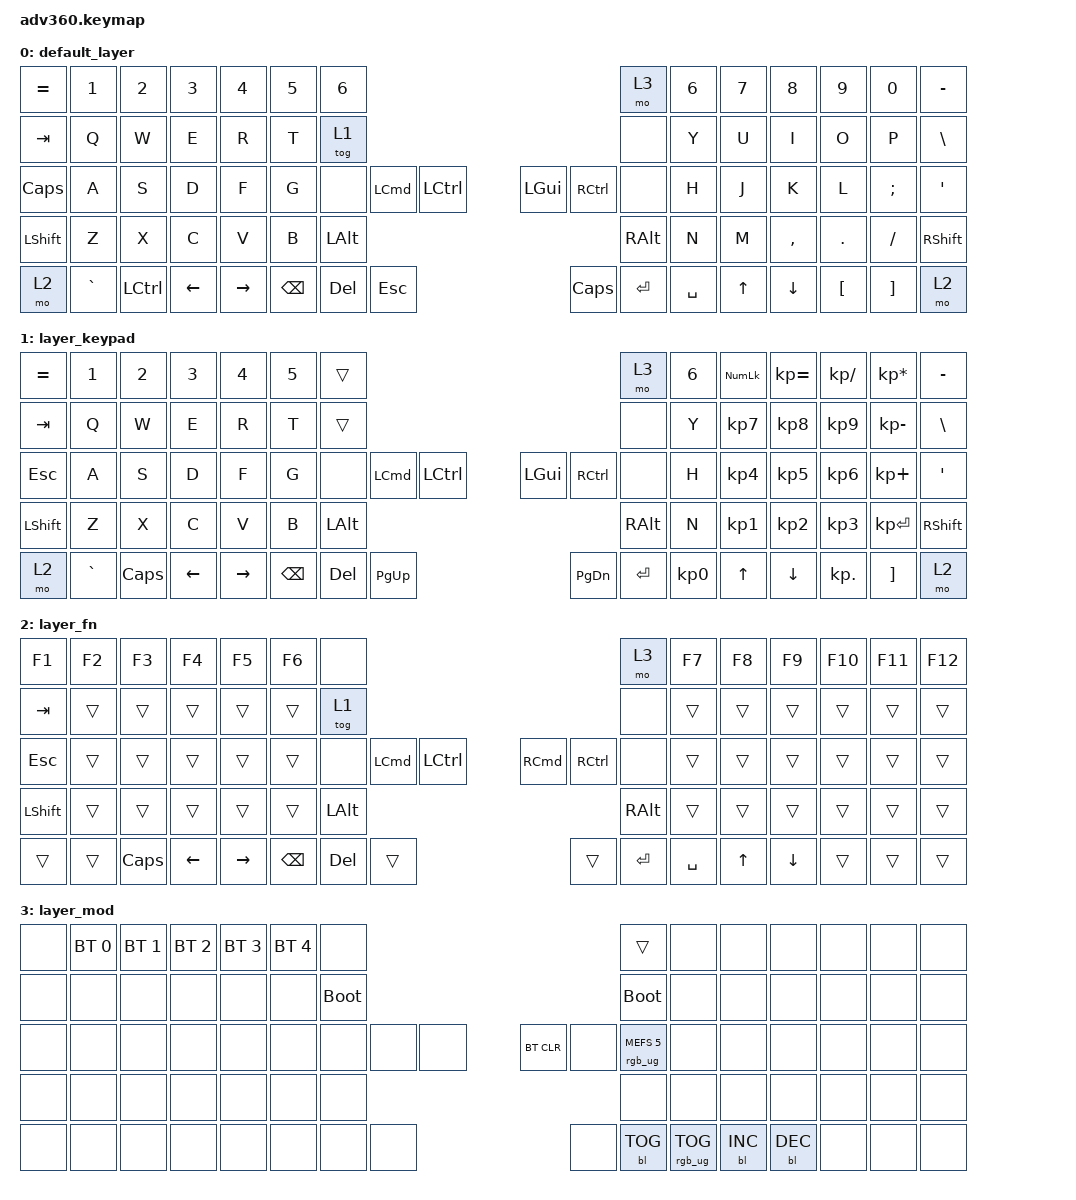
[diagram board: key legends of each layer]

/*
 * Copyright (c) 2020 The ZMK Contributors
 *
 * SPDX-License-Identifier: MIT
 */


/* THIS FILE WAS GENERATED!
 *
 * This file was generated automatically. You may or may not want to
 * edit it directly.
 */

#include <behaviors.dtsi>
#include <dt-bindings/zmk/keys.h>
#include <dt-bindings/zmk/bt.h>
#include <dt-bindings/zmk/rgb.h>
#include <dt-bindings/zmk/backlight.h>

/ {
  behaviors {
    #include "macros.dtsi"
    #include "version.dtsi"

    hm: homerow_mods {
        compatible = "zmk,behavior-hold-tap";
        label = "HOMEROW_MODS";
        #binding-cells = <2>;
        tapping-term-ms = <200>;
        quick_tap_ms = <175>;
        flavor = "tap-preferred";
        bindings = <&kp>, <&kp>;
    };
  };

    keymap {
        compatible = "zmk,keymap";


        default_layer {
            bindings = <
    &kp EQUAL     &kp N1            &kp N2    &kp N3     &kp N4  &kp N5            &kp NUMBER_6                                                                                    &mo 3  &kp N6  &kp N7     &kp N8    &kp N9    &kp N0  &kp MINUS
      &kp TAB      &kp Q             &kp W     &kp E      &kp R   &kp T                  &tog 1                                                                                    &none   &kp Y   &kp U      &kp I     &kp O     &kp P   &kp BSLH
 &kp CAPSLOCK      &kp A             &kp S     &kp D      &kp F   &kp G                   &none  &kp LEFT_COMMAND  &kp LEFT_CONTROL                       &kp LGUI  &kp RCTRL      &none   &kp H   &kp J      &kp K     &kp L  &kp SEMI    &kp SQT
    &kp LSHFT      &kp Z             &kp X     &kp C      &kp V   &kp B                                                &kp LEFT_ALT                  &kp RIGHT_ALT                         &kp N   &kp M  &kp COMMA   &kp DOT  &kp FSLH  &kp RSHFT
        &mo 2  &kp GRAVE  &kp LEFT_CONTROL  &kp LEFT  &kp RIGHT                        &kp BSPC           &kp DEL        &kp ESCAPE                   &kp CAPSLOCK  &kp ENTER  &kp SPACE          &kp UP   &kp DOWN  &kp LBKT  &kp RBKT      &mo 2
            >;
        };

        layer_keypad {
            bindings = <
 &kp EQUAL     &kp N1    &kp N2    &kp N3     &kp N4  &kp N5              &trans                                                                                    &mo 3  &kp N6  &kp KP_NUM  &kp KP_EQUAL  &kp KP_DIVIDE  &kp KP_MULTIPLY  &kp MINUS
   &kp TAB      &kp Q     &kp W     &kp E      &kp R   &kp T              &trans                                                                                    &none   &kp Y   &kp KP_N7     &kp KP_N8      &kp KP_N9     &kp KP_MINUS   &kp BSLH
   &kp ESC      &kp A     &kp S     &kp D      &kp F   &kp G               &none  &kp LEFT_COMMAND  &kp LEFT_CONTROL                       &kp LGUI  &kp RCTRL      &none   &kp H   &kp KP_N4     &kp KP_N5      &kp KP_N6      &kp KP_PLUS    &kp SQT
 &kp LSHFT      &kp Z     &kp X     &kp C      &kp V   &kp B                                            &kp LEFT_ALT                  &kp RIGHT_ALT                         &kp N   &kp KP_N1     &kp KP_N2      &kp KP_N3     &kp KP_ENTER  &kp RSHFT
     &mo 2  &kp GRAVE  &kp CAPS  &kp LEFT  &kp RIGHT                    &kp BSPC           &kp DEL         &kp PG_UP                      &kp PG_DN  &kp ENTER  &kp KP_N0              &kp UP      &kp DOWN     &kp KP_DOT         &kp RBKT      &mo 2
            >;
        };

        layer_fn {
            bindings = <
         &kp F1  &kp F2        &kp F3          &kp F4           &kp F5  &kp F6                    &none                                                                                    &mo 3  &kp F7        &kp F8          &kp F9  &kp F10  &kp F11  &kp F12
        &kp TAB  &trans        &trans          &trans           &trans  &trans                   &tog 1                                                                                    &none  &trans        &trans          &trans   &trans   &trans   &trans
     &kp ESCAPE  &trans        &trans          &trans           &trans  &trans                    &none  &kp LEFT_COMMAND     &kp LCTRL                  &kp RIGHT_COMMAND  &kp RCTRL      &none  &trans        &trans          &trans   &trans   &trans   &trans
 &kp LEFT_SHIFT  &trans        &trans          &trans           &trans  &trans                                             &kp LEFT_ALT                      &kp RIGHT_ALT                        &trans        &trans          &trans   &trans   &trans   &trans
         &trans  &trans  &kp CAPSLOCK  &kp LEFT_ARROW  &kp RIGHT_ARROW                    &kp BACKSPACE        &kp DELETE        &trans                             &trans  &kp ENTER  &kp SPACE          &kp UP_ARROW  &kp DOWN_ARROW   &trans   &trans   &trans
            >;
        };

        layer_mod {
            bindings = <
  &none  &bt BT_SEL 0  &bt BT_SEL 1  &bt BT_SEL 2  &bt BT_SEL 3  &bt BT_SEL 4                  &none                                                                          &trans   &none       &none       &none   &none   &none   &none
  &none         &none         &none         &none         &none         &none            &bootloader                                                                     &bootloader   &none       &none       &none   &none   &none   &none
  &none         &none         &none         &none         &none         &none                  &none   &none   &none                  &bt BT_CLR       &none  &rgb_ug RGB_MEFS_CMD 5   &none       &none       &none   &none   &none   &none
  &none         &none         &none         &none         &none         &none                                  &none                       &none                                       &none       &none       &none   &none   &none   &none
  &none         &none         &none         &none         &none                                &none   &none   &none                       &none  &bl BL_TOG         &rgb_ug RGB_TOG          &bl BL_INC  &bl BL_DEC   &none   &none   &none
            >;
        };

    };
};
